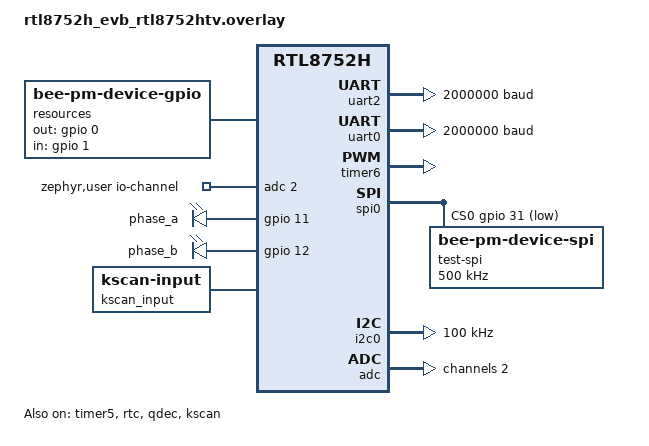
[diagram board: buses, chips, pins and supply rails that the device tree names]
/*
 * Copyright(c) 2025, Realtek Semiconductor Corporation.
 *
 * SPDX-License-Identifier: Apache-2.0
 */
#include <zephyr/dt-bindings/gpio/realtek-bee-gpio.h>
#include <zephyr/dt-bindings/input/input-event-codes.h>
#include <zephyr/dt-bindings/input/keymap.h>
#include <zephyr/dt-bindings/led/led.h>
#include <zephyr/dt-bindings/i2c/i2c.h>

/*
 * P0_0 GPIO(TEST OUT)
 * P0_1 GPIO(TEST IN)
 * P0_2 PWM6
 * P0_4 I2C0_CLK
 * P0_5 I2C0_DAT
 * P0_6 UART0_TX
 * P1_0 SWD
 * P1_1 SWD
 * P2_2 ADC
 * P2_3 UART0_RX
 * P2_4 KSCAN_R0
 * P2_5 KSCAN_R1
 * P2_6 KSCAN_C0
 * P2_7 KSCAN_C1
 * P3_0 UART2_TX
 * P3_1 UART2_RX
 * P3_2 QDECX_A
 * P3_3 QDECX_B
 * P3_4
 * P4_0 SPI0_CLK
 * P4_1 SPI0_MO
 * P4_2 SPI0_MI
 * P4_3 GPIO(SPI0_CS)
 * P5_1 GPIO(TEST QDECX)
 * P5_2 GPIO(TEST QDECX)
 */

/ {
	resources {
		compatible = "bee-pm-device-gpio";
		// P0_0
		out-gpios = <&gpio 0 GPIO_ACTIVE_HIGH>;
		// P0_1
		in-gpios = <&gpio 1 (GPIO_ACTIVE_HIGH
							| BEE_GPIO_INPUT_DEBOUNCE_MS(8)
							| BEE_GPIO_INPUT_PM_WAKEUP)>;
	};

	chosen {
		zephyr,keyboard-scan = &kscan_input;
	};

	zephyr,user {
		io-channels = <&adc 2>;
	};

	aliases {
		test-uart-dma = &uart0;
		test-counter-timer = &timer5;
		test-pwm = &pwm6;
		test-rtc = &rtc;
		test-qdec = &qdec;
		test-qenca = &phase_a;
		test-qencb = &phase_b;
		test-i2c = &i2c0;
	};

	encoder-emulate {
		compatible = "gpio-leds";
		phase_a: phase_a {
		// P5_1
		gpios = <&gpio 11 GPIO_ACTIVE_HIGH>;
		};
		phase_b: phase_b {
		// P5_2
		gpios = <&gpio 12 GPIO_ACTIVE_HIGH>;
		};
	};
};

&uart2 {
	pinctrl-0 = <&uart2_default>;
	pinctrl-1 = <&uart2_sleep>;
	pinctrl-names = "default", "sleep";
	status = "okay";
	current-speed = <2000000>;
	parity = "none";
	stop-bits = "1";
	data-bits = <8>;
};

&uart0 {
	pinctrl-0 = <&uart0_default>;
	pinctrl-1 = <&uart0_sleep>;
	pinctrl-names = "default", "sleep";
	status = "okay";
	current-speed = <2000000>;
	parity = "none";
	stop-bits = "1";
	data-bits = <8>;
	dmas = <&dma0 0 23 0xa>, <&dma0 1 15 0x10021>;
	dma-names = "rx", "tx";
};

&dma0 {
	status = "okay";
};

&gpio {
	status = "okay";
};

&timer5 {
	status = "okay";
	prescaler = <1>;
};

&timer6 {
	status = "okay";
	prescaler = <1>;
	pwm6: pwm6 {
			status = "okay";
			pinctrl-0 = <&pwm6_default>;
			pinctrl-names = "default";
	};
};

&spi0 {
	status = "okay";
	pinctrl-0 = <&spi0_default>;
	pinctrl-names = "default";
	// P4_3
	cs-gpios = <&gpio 31 GPIO_ACTIVE_LOW>;
	test-spi@0 {
		compatible = "bee-pm-device-spi";
		reg = <0>;
		spi-max-frequency = <500000>;
	};
};

&i2c0 {
	pinctrl-0 = <&i2c0_default>;
	pinctrl-1 = <&i2c0_sleep>;
	pinctrl-names = "default", "sleep";
	clock-frequency = <I2C_BITRATE_STANDARD>;
	status = "okay";
};

&rtc {
	status = "okay";
	prescaler = <3200>;
};

&qdec {
	status = "okay";
	x-counts-per-revolution = <4>;
	x-debounce-time-ms = <5>;
	pinctrl-0 = <&qdec_default>;
	pinctrl-names = "default";
};

&kscan {
	pinctrl-0 = <&input_kscan_default>;
	pinctrl-1 = <&input_kscan_sleep>;
	pinctrl-names = "default", "sleep";
	row-size = <2>;
	col-size = <2>;
	debounce-time-us = <20000>;
	scan-time-us = <20000>;
	release-time-us = <5000>;
	scan-debounce-cnt = <2>;
	status = "okay";
	kscan_input: kscan-input {
		compatible = "zephyr,kscan-input";
	};
	keymap {
		compatible = "input-keymap";
		keymap = <
			MATRIX_KEY(0, 0, INPUT_KEY_1)
			MATRIX_KEY(0, 1, INPUT_KEY_2)
			MATRIX_KEY(1, 0, INPUT_KEY_3)
			MATRIX_KEY(1, 1, INPUT_KEY_4)
		>;
		row-size = <2>;
		col-size = <2>;
	};
};

&adc {
	pinctrl-0 = <&adc_default>;
	pinctrl-names = "default";
	#address-cells = <1>;
	#size-cells = <0>;
	status = "okay";
	channel@2 {
		reg = <2>;
		zephyr,gain = "ADC_GAIN_1";
		zephyr,reference = "ADC_REF_INTERNAL";
		zephyr,acquisition-time = <ADC_ACQ_TIME_DEFAULT>;
		zephyr,resolution = <12>;
	};
};

&pinctrl {
	uart0_default: uart0_default {
		group1 {
			psels = <BEE_PSEL(UART0_TX, P0_6, DIR_OUT, DRV_HIGH, PULL_UP)>,
			<BEE_PSEL(UART0_RX, P2_3, DIR_IN, DRV_HIGH, PULL_UP)>;
		};
	};

	uart0_sleep: uart0_sleep {
		group1 {
			psels = <BEE_PSEL(SW_MODE, P0_6, DIR_OUT, DRV_HIGH, PULL_UP)>;
		};
		group2 {
			psels = <BEE_PSEL(SW_MODE, P2_3, DIR_IN, DRV_HIGH, PULL_UP)>;
			wakeup-low;
		};
	};

	uart2_default: uart2_default {
		group1 {
			psels = <BEE_PSEL(UART2_TX, P3_0, DIR_OUT, DRV_HIGH, PULL_UP)>,
			<BEE_PSEL(UART2_RX, P3_1, DIR_IN, DRV_HIGH, PULL_UP)>;
		};
	};

	uart2_sleep: uart2_sleep {
		group1 {
			psels = <BEE_PSEL(SW_MODE, P3_0, DIR_OUT, DRV_HIGH, PULL_UP)>;
		};
		group2 {
			psels = <BEE_PSEL(SW_MODE, P3_1, DIR_IN, DRV_HIGH, PULL_UP)>;
			wakeup-low;
		};
	};

	spi0_default: spi0_default {
		group1 {
			psels = <BEE_PSEL(SPI0_CLK_MASTER, P4_0, DIR_OUT, DRV_HIGH, PULL_UP)>,
			<BEE_PSEL(SPI0_MO_MASTER, P4_1, DIR_OUT, DRV_HIGH, PULL_UP)>,
			<BEE_PSEL(SPI0_MI_MASTER, P4_2, DIR_OUT, DRV_HIGH, PULL_UP)>;
		};
	};

	pwm6_default: pwm6_default {
		group1 {
			psels = <BEE_PSEL(ENPWM0, P0_2, DIR_OUT, DRV_LOW, PULL_DOWN)>;
		};
	};

	qdec_default: qdec_default {
		group1 {
			psels = <BEE_PSEL(qdec_phase_a_x, P3_2, DIR_IN, DRV_LOW, PULL_UP)>,
			<BEE_PSEL(qdec_phase_b_x, P3_3, DIR_IN, DRV_LOW, PULL_UP)>;
		};
	};

	i2c0_default: i2c0_default {
		group1 {
			psels = <BEE_PSEL(I2C0_CLK, P0_4, DIR_OUT, DRV_HIGH, PULL_UP)>,
			<BEE_PSEL(I2C0_DAT, P0_5, DIR_OUT, DRV_HIGH, PULL_UP)>;
		};
	};

	i2c0_sleep: i2c0_sleep {
		group1 {
			psels = <BEE_PSEL(SW_MODE, P0_4, DIR_OUT, DRV_HIGH, PULL_UP)>,
			<BEE_PSEL(SW_MODE, P0_5, DIR_OUT, DRV_HIGH, PULL_UP)>;
		};
	};

	input_kscan_default: input_kscan_default {
		group1 {
			psels = <BEE_PSEL(KEY_COL_0, P2_6, DIR_OUT, DRV_LOW, PULL_NONE)>,
			<BEE_PSEL(KEY_COL_1, P2_7, DIR_OUT, DRV_LOW, PULL_NONE)>;
		};
		group2 {
			psels = <BEE_PSEL(KEY_ROW_0, P2_4, DIR_IN, DRV_LOW, PULL_UP)>,
			<BEE_PSEL(KEY_ROW_1, P2_5, DIR_IN, DRV_LOW, PULL_UP)>;
			bias-pull-strong;
		};
	};

	input_kscan_sleep: input_kscan_sleep {
		group1 {
			psels = <BEE_PSEL(SW_MODE, P2_6, DIR_OUT, DRV_LOW, PULL_NONE)>,
			<BEE_PSEL(SW_MODE, P2_7, DIR_OUT, DRV_LOW, PULL_NONE)>;
		};
		group2 {
			psels = <BEE_PSEL(SW_MODE, P2_4, DIR_IN, DRV_LOW, PULL_UP)>,
			<BEE_PSEL(SW_MODE, P2_5, DIR_IN, DRV_LOW, PULL_UP)>;
			bias-pull-strong;
			wakeup-low;
		};
	};

	adc_default: adc_default {
		group1 {
			psels = <BEE_PSEL(SW_MODE, P2_2, DIR_IN, DRV_LOW, PULL_DOWN)>;
		};
	};

};
